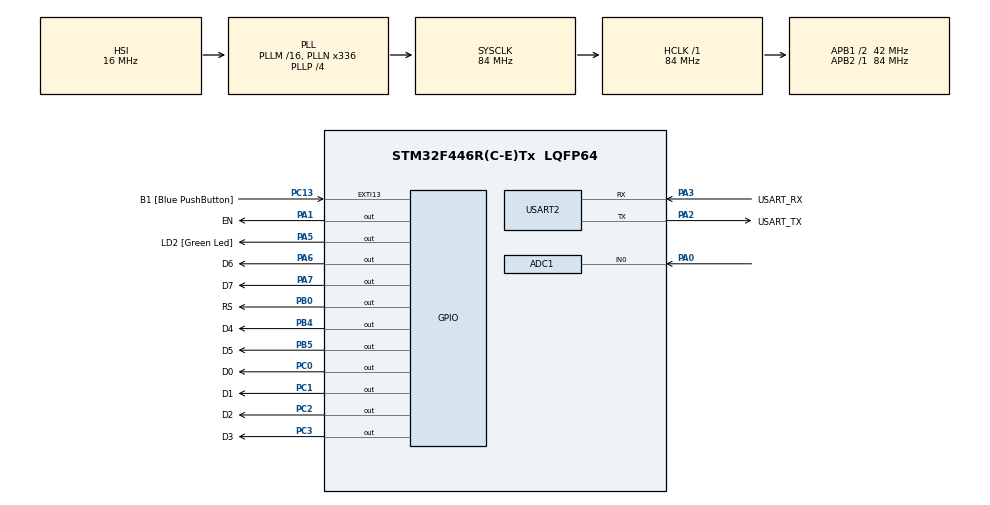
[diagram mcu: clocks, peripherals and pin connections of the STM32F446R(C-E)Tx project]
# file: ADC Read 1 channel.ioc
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ADC1.Channel-0\#ChannelRegularConversion=ADC_CHANNEL_0
ADC1.NbrOfConversion=1
ADC1.NbrOfConversionFlag=1
ADC1.Rank-0\#ChannelRegularConversion=1
ADC1.SamplingTime-0\#ChannelRegularConversion=ADC_SAMPLETIME_3CYCLES
ADC1.master=1
Mcu.Family=STM32F4
Mcu.Name=STM32F446R(C-E)Tx
Mcu.Package=LQFP64
NVIC.PriorityGroup=NVIC_PRIORITYGROUP_0
PA0-WKUP.Signal=ADCx_IN0
PA1.GPIO_Label=EN
PA1.Signal=GPIO_Output
PA13.GPIO_Label=TMS
PA13.Mode=Serial_Wire
PA13.Signal=SYS_JTMS-SWDIO
PA14.GPIO_Label=TCK
PA14.Mode=Serial_Wire
PA14.Signal=SYS_JTCK-SWCLK
PA2.GPIO_Label=USART_TX
PA2.Mode=Asynchronous
PA2.Signal=USART2_TX
PA3.GPIO_Label=USART_RX
PA3.Mode=Asynchronous
PA3.Signal=USART2_RX
PA5.GPIO_Label=LD2 [Green Led]
PA5.Signal=GPIO_Output
PA6.GPIO_Label=D6
PA6.Signal=GPIO_Output
PA7.GPIO_Label=D7
PA7.Signal=GPIO_Output
PB0.GPIO_Label=RS
PB0.Signal=GPIO_Output
PB3.GPIO_Label=SWO
PB3.Signal=SYS_JTDO-SWO
PB4.GPIO_Label=D4
PB4.Signal=GPIO_Output
PB5.GPIO_Label=D5
PB5.Signal=GPIO_Output
PC0.GPIO_Label=D0
PC0.Signal=GPIO_Output
PC1.GPIO_Label=D1
PC1.Signal=GPIO_Output
PC13.GPIO_Label=B1 [Blue PushButton]
PC13.GPIO_ModeDefaultEXTI=GPIO_MODE_IT_FALLING
PC13.Signal=GPXTI13
PC14-OSC32_IN.Mode=LSE-External-Oscillator
PC14-OSC32_IN.Signal=RCC_OSC32_IN
PC15-OSC32_OUT.Mode=LSE-External-Oscillator
PC15-OSC32_OUT.Signal=RCC_OSC32_OUT
PC2.GPIO_Label=D2
PC2.Signal=GPIO_Output
PC3.GPIO_Label=D3
PC3.Signal=GPIO_Output
PH0-OSC_IN.Mode=HSE-External-Oscillator
PH0-OSC_IN.Signal=RCC_OSC_IN
PH1-OSC_OUT.Mode=HSE-External-Oscillator
PH1-OSC_OUT.Signal=RCC_OSC_OUT
ProjectManager.HeapSize=0x200
ProjectManager.StackSize=0x400
ProjectManager.TargetToolchain=STM32CubeIDE
RCC.48MHZClocksFreq_Value=84000000
RCC.AHBFreq_Value=84000000
RCC.APB1CLKDivider=RCC_HCLK_DIV2
RCC.APB1Freq_Value=42000000
RCC.APB1TimFreq_Value=84000000
RCC.APB2Freq_Value=84000000
RCC.APB2TimFreq_Value=84000000
RCC.CortexFreq_Value=84000000
RCC.FLatency-AdvancedSettings=FLASH_LATENCY_2
RCC.HCLKFreq_Value=84000000
RCC.HSE_VALUE=8000000
RCC.HSI_VALUE=16000000
RCC.PLLN=336
RCC.PLLP=RCC_PLLP_DIV4
RCC.SYSCLKFreq_VALUE=84000000
RCC.SYSCLKSource=RCC_SYSCLKSOURCE_PLLCLK
RCC.USBFreq_Value=168000000
RCC.VCOOutputFreq_Value=336000000
SH.ADCx_IN0.0=ADC1_IN0,IN0
USART2.VirtualMode=VM_ASYNC
board=NUCLEO-F446RE

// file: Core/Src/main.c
/* USER CODE BEGIN Header */
/**
  ******************************************************************************
  * @file           : main.c
  * @brief          : Main program body
  ******************************************************************************
  * @attention
  *
  * Copyright (c) 2023 STMicroelectronics.
  * All rights reserved.
  *
  * This software is licensed under terms that can be found in the LICENSE file
  * in the root directory of this software component.
  * If no LICENSE file comes with this software, it is provided AS-IS.
  *
  ******************************************************************************
  */
/* USER CODE END Header */
#include "main.h"

/* USER CODE BEGIN Includes */
#include <string.h>
#include <stdio.h>
/* USER CODE END Includes */

/* USER CODE BEGIN PTD */

typedef union{

	struct{
		uint8_t b0:1;
		uint8_t b1:1;
		uint8_t b2:1;
		uint8_t b3:1;
		uint8_t b4:1;
		uint8_t b5:1;
		uint8_t b6:1;
		uint8_t b7:1;
	};

	struct{
		uint8_t nib1:4;
		uint8_t nib2:4;
	};

	uint8_t x;
}Typedef_LCD_PinConfig;
/* USER CODE END PTD */

/* USER CODE BEGIN PM */

#define LCD_CLEAR_SCREEN   0x01
#define LCD_8BIT_MODE      0x38
#define LCD_CURSOR_RIGHT   0x02
#define LCD_ENTRY_MODE     0x06
#define LCD_ON_CURSOR_OFF  0x0C
#define LCD_FIRST_ROW      0x80
#define LCD_SECOUND_ROW    0xC0
#define LCD_CGRAM_LOCation 0x40

/* USER CODE END PM */

ADC_HandleTypeDef hadc1;

UART_HandleTypeDef huart2;

/* USER CODE BEGIN PV */

uint16_t adc_value = 0;
char arr[20];

/* USER CODE END PV */

void SystemClock_Config(void);
static void MX_GPIO_Init(void);
static void MX_USART2_UART_Init(void);
static void MX_ADC1_Init(void);
/* USER CODE BEGIN PFP */

void LCD_Initialize( void );
void Data_Write(uint8_t Byte);
void LCD_Data_Write(uint8_t data);
void LCD_Command_Write(uint8_t cmd);
void LCD_String_Write(const uint8_t *ptr);
void LCD_Location(uint8_t ROW_Position, uint8_t Col_Position);

/* USER CODE END PFP */

int main(void)
{

  /* MCU Configuration--------------------------------------------------------*/

  /* Reset of all peripherals, Initializes the Flash interface and the Systick. */
  HAL_Init();

  /* Configure the system clock */
  SystemClock_Config();

  /* Initialize all configured peripherals */
  MX_GPIO_Init();
  MX_USART2_UART_Init();
  MX_ADC1_Init();
  /* USER CODE BEGIN 2 */
  LCD_Initialize();

  /* USER CODE END 2 */

  /* Infinite loop */
  /* USER CODE BEGIN WHILE */
  while (1)
  {
	  HAL_ADC_Start(&hadc1);
	  if(HAL_ADC_PollForConversion(&hadc1, 5) == HAL_OK){

		  adc_value = HAL_ADC_GetValue(&hadc1);
	  }
	  HAL_ADC_Stop(&hadc1);
	  HAL_Delay(200);

	  sprintf(arr,"ADC Value : %04d\r\n",adc_value);
	  LCD_Command_Write(LCD_FIRST_ROW);
	  LCD_String_Write((const uint8_t *)arr);
	  HAL_UART_Transmit(&huart2, (uint8_t *)arr, strlen(arr), HAL_MAX_DELAY);

	  if(adc_value > 1500 && adc_value < 2000){

		  HAL_GPIO_WritePin(GPIOA, GPIO_PIN_5, 1);
	  }

	  else{

		  HAL_GPIO_WritePin(GPIOA, GPIO_PIN_5, 0);
	  }
    /* USER CODE END WHILE */

  }
}

void SystemClock_Config(void)
{
  RCC_OscInitTypeDef RCC_OscInitStruct = {0};
  RCC_ClkInitTypeDef RCC_ClkInitStruct = {0};

  /** Configure the main internal regulator output voltage
  */
  __HAL_RCC_PWR_CLK_ENABLE();
  __HAL_PWR_VOLTAGESCALING_CONFIG(PWR_REGULATOR_VOLTAGE_SCALE3);

  /** Initializes the RCC Oscillators according to the specified parameters
  * in the RCC_OscInitTypeDef structure.
  */
  RCC_OscInitStruct.OscillatorType = RCC_OSCILLATORTYPE_HSI;
  RCC_OscInitStruct.HSIState = RCC_HSI_ON;
  RCC_OscInitStruct.HSICalibrationValue = RCC_HSICALIBRATION_DEFAULT;
  RCC_OscInitStruct.PLL.PLLState = RCC_PLL_ON;
  RCC_OscInitStruct.PLL.PLLSource = RCC_PLLSOURCE_HSI;
  RCC_OscInitStruct.PLL.PLLM = 16;
  RCC_OscInitStruct.PLL.PLLN = 336;
  RCC_OscInitStruct.PLL.PLLP = RCC_PLLP_DIV4;
  RCC_OscInitStruct.PLL.PLLQ = 2;
  RCC_OscInitStruct.PLL.PLLR = 2;
  if (HAL_RCC_OscConfig(&RCC_OscInitStruct) != HAL_OK)
  {
    Error_Handler();
  }

  /** Initializes the CPU, AHB and APB buses clocks
  */
  RCC_ClkInitStruct.ClockType = RCC_CLOCKTYPE_HCLK|RCC_CLOCKTYPE_SYSCLK
                              |RCC_CLOCKTYPE_PCLK1|RCC_CLOCKTYPE_PCLK2;
  RCC_ClkInitStruct.SYSCLKSource = RCC_SYSCLKSOURCE_PLLCLK;
  RCC_ClkInitStruct.AHBCLKDivider = RCC_SYSCLK_DIV1;
  RCC_ClkInitStruct.APB1CLKDivider = RCC_HCLK_DIV2;
  RCC_ClkInitStruct.APB2CLKDivider = RCC_HCLK_DIV1;

  if (HAL_RCC_ClockConfig(&RCC_ClkInitStruct, FLASH_LATENCY_2) != HAL_OK)
  {
    Error_Handler();
  }
}

static void MX_ADC1_Init(void)
{

  ADC_ChannelConfTypeDef sConfig = {0};

  /** Configure the global features of the ADC (Clock, Resolution, Data Alignment and number of conversion)
  */
  hadc1.Instance = ADC1;
  hadc1.Init.ClockPrescaler = ADC_CLOCK_SYNC_PCLK_DIV4;
  hadc1.Init.Resolution = ADC_RESOLUTION_12B;
  hadc1.Init.ScanConvMode = DISABLE;
  hadc1.Init.ContinuousConvMode = DISABLE;
  hadc1.Init.DiscontinuousConvMode = DISABLE;
  hadc1.Init.ExternalTrigConvEdge = ADC_EXTERNALTRIGCONVEDGE_NONE;
  hadc1.Init.ExternalTrigConv = ADC_SOFTWARE_START;
  hadc1.Init.DataAlign = ADC_DATAALIGN_RIGHT;
  hadc1.Init.NbrOfConversion = 1;
  hadc1.Init.DMAContinuousRequests = DISABLE;
  hadc1.Init.EOCSelection = ADC_EOC_SINGLE_CONV;
  if (HAL_ADC_Init(&hadc1) != HAL_OK)
  {
    Error_Handler();
  }

  /** Configure for the selected ADC regular channel its corresponding rank in the sequencer and its sample time.
  */
  sConfig.Channel = ADC_CHANNEL_0;
  sConfig.Rank = 1;
  sConfig.SamplingTime = ADC_SAMPLETIME_3CYCLES;
  if (HAL_ADC_ConfigChannel(&hadc1, &sConfig) != HAL_OK)
  {
    Error_Handler();
  }

}

static void MX_USART2_UART_Init(void)
{

  huart2.Instance = USART2;
  huart2.Init.BaudRate = 115200;
  huart2.Init.WordLength = UART_WORDLENGTH_8B;
  huart2.Init.StopBits = UART_STOPBITS_1;
  huart2.Init.Parity = UART_PARITY_NONE;
  huart2.Init.Mode = UART_MODE_TX_RX;
  huart2.Init.HwFlowCtl = UART_HWCONTROL_NONE;
  huart2.Init.OverSampling = UART_OVERSAMPLING_16;
  if (HAL_UART_Init(&huart2) != HAL_OK)
  {
    Error_Handler();
  }

}

static void MX_GPIO_Init(void)
{
  GPIO_InitTypeDef GPIO_InitStruct = {0};

  /* GPIO Ports Clock Enable */
  __HAL_RCC_GPIOC_CLK_ENABLE();
  __HAL_RCC_GPIOH_CLK_ENABLE();
  __HAL_RCC_GPIOA_CLK_ENABLE();
  __HAL_RCC_GPIOB_CLK_ENABLE();

  /*Configure GPIO pin Output Level */
  HAL_GPIO_WritePin(GPIOC, D0_Pin|D1_Pin|D2_Pin|D3_Pin, GPIO_PIN_RESET);

  /*Configure GPIO pin Output Level */
  HAL_GPIO_WritePin(GPIOA, EN_Pin|LD2_Pin|D6_Pin|D7_Pin, GPIO_PIN_RESET);

  /*Configure GPIO pin Output Level */
  HAL_GPIO_WritePin(GPIOB, RS_Pin|D4_Pin|D5_Pin, GPIO_PIN_RESET);

  /*Configure GPIO pin : B1_Pin */
  GPIO_InitStruct.Pin = B1_Pin;
  GPIO_InitStruct.Mode = GPIO_MODE_IT_FALLING;
  GPIO_InitStruct.Pull = GPIO_NOPULL;
  HAL_GPIO_Init(B1_GPIO_Port, &GPIO_InitStruct);

  /*Configure GPIO pins : D0_Pin D1_Pin D2_Pin D3_Pin */
  GPIO_InitStruct.Pin = D0_Pin|D1_Pin|D2_Pin|D3_Pin;
  GPIO_InitStruct.Mode = GPIO_MODE_OUTPUT_PP;
  GPIO_InitStruct.Pull = GPIO_NOPULL;
  GPIO_InitStruct.Speed = GPIO_SPEED_FREQ_LOW;
  HAL_GPIO_Init(GPIOC, &GPIO_InitStruct);

  /*Configure GPIO pins : EN_Pin LD2_Pin D6_Pin D7_Pin */
  GPIO_InitStruct.Pin = EN_Pin|LD2_Pin|D6_Pin|D7_Pin;
  GPIO_InitStruct.Mode = GPIO_MODE_OUTPUT_PP;
  GPIO_InitStruct.Pull = GPIO_NOPULL;
  GPIO_InitStruct.Speed = GPIO_SPEED_FREQ_LOW;
  HAL_GPIO_Init(GPIOA, &GPIO_InitStruct);

  /*Configure GPIO pins : RS_Pin D4_Pin D5_Pin */
  GPIO_InitStruct.Pin = RS_Pin|D4_Pin|D5_Pin;
  GPIO_InitStruct.Mode = GPIO_MODE_OUTPUT_PP;
  GPIO_InitStruct.Pull = GPIO_NOPULL;
  GPIO_InitStruct.Speed = GPIO_SPEED_FREQ_LOW;
  HAL_GPIO_Init(GPIOB, &GPIO_InitStruct);

}

/* USER CODE BEGIN 4 */

void Data_Write(uint8_t Byte){

	Typedef_LCD_PinConfig y = (Typedef_LCD_PinConfig)Byte;

	HAL_GPIO_WritePin(GPIOC, D0_Pin, y.b0);
	HAL_GPIO_WritePin(GPIOC, D1_Pin, y.b1);
	HAL_GPIO_WritePin(GPIOC, D2_Pin, y.b2);
	HAL_GPIO_WritePin(GPIOC, D3_Pin, y.b3);
	HAL_GPIO_WritePin(GPIOB, D4_Pin, y.b4);
	HAL_GPIO_WritePin(GPIOB, D5_Pin, y.b5);
	HAL_GPIO_WritePin(GPIOA, D6_Pin, y.b6);
	HAL_GPIO_WritePin(GPIOA, D7_Pin, y.b7);

}

void LCD_Data_Write(uint8_t data){

	HAL_GPIO_WritePin(GPIOB, RS_Pin, GPIO_PIN_SET);

	Data_Write(data);

	HAL_GPIO_WritePin(GPIOA, EN_Pin, GPIO_PIN_SET);
	HAL_Delay(2);
	HAL_GPIO_WritePin(GPIOA, EN_Pin, GPIO_PIN_RESET);
	HAL_Delay(2);
}
void LCD_Command_Write(uint8_t cmd){

	HAL_GPIO_WritePin(GPIOB, RS_Pin, GPIO_PIN_RESET);

	Data_Write(cmd);

	HAL_GPIO_WritePin(GPIOA, EN_Pin, GPIO_PIN_SET);
	HAL_Delay(2);
	HAL_GPIO_WritePin(GPIOA, EN_Pin, GPIO_PIN_RESET);
	HAL_Delay(2);
}

void LCD_String_Write(const uint8_t *ptr){

	while(*ptr){

		LCD_Data_Write(*ptr++);
	}
}

void LCD_Initialize( void ){

	LCD_Command_Write(LCD_CLEAR_SCREEN);
	LCD_Command_Write(LCD_CURSOR_RIGHT);
	LCD_Command_Write(LCD_ENTRY_MODE);
	LCD_Command_Write(LCD_8BIT_MODE);
	LCD_Command_Write(LCD_ON_CURSOR_OFF);

}

void LCD_Location(uint8_t ROW_Position, uint8_t Col_Position){

	if(ROW_Position == 2){

		LCD_Command_Write(LCD_SECOUND_ROW | Col_Position);
	}

	else{

		LCD_Command_Write(LCD_FIRST_ROW | Col_Position);
	}
}
/* USER CODE END 4 */

void Error_Handler(void)
{
  __disable_irq();
  while (1)
  {
  }
}
